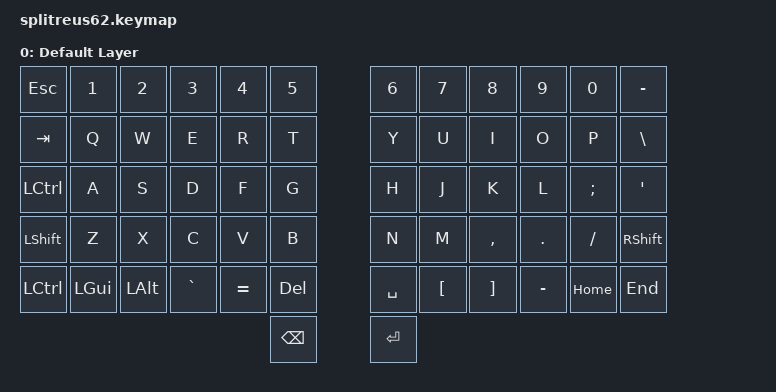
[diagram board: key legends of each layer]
/*
 * Copyright (c) 2020 The ZMK Contributors
 *
 * SPDX-License-Identifier: MIT
 */


#include <behaviors.dtsi>
#include <dt-bindings/zmk/keys.h>

/ {
    keymap {
        compatible = "zmk,keymap";

        default_layer {
            display-name = "Default Layer";
// ------------------------------------------------------------------------------------------------------------
// |  ESC  |  1  |  2  |  3   |  4   |  5   |                   |  6   |  7    |  8    |  9   |   0   |   -   |
// |  TAB  |  Q  |  W  |  E   |  R   |  T   |                   |  Y   |  U    |  I    |  O   |   P   |   \   |
// |  CTRL |  A  |  S  |  D   |  F   |  G   |                   |  H   |  J    |  K    |  L   |   ;   |   '   |
// | SHIFT |  Z  |  X  |  C   |  V   |  B   |                   |  N   |  M    |  ,    |  .   |   /   | SHIFT |
// | LCTL  | LGUI  | LALT |  GRAV |  | EQL | DEL | BSPC|  | RET | SPC  | LBKT |  RBKT  | LBKT | HOME  |   END |
            bindings = <
&kp ESC   &kp N1    &kp N2   &kp N3    &kp N4    &kp N5                    &kp N6    &kp N7   &kp N8    &kp N9    &kp N0   &kp MINUS
&kp TAB   &kp Q     &kp W    &kp E     &kp R     &kp T                     &kp Y     &kp U    &kp I     &kp O     &kp P    &kp BSLH
&kp LCTRL &kp A     &kp S    &kp D     &kp F     &kp G                     &kp H     &kp J    &kp K     &kp L     &kp SEMI &kp SQT
&kp LSHFT &kp Z     &kp X    &kp C     &kp V     &kp B                     &kp N     &kp M    &kp COMMA &kp DOT   &kp FSLH &kp RSHFT
&kp LCTRL &kp LGUI  &kp LALT &kp GRAVE &kp EQUAL &kp DEL                   &kp SPACE &kp LBKT &kp RBKT  &kp MINUS &kp HOME &kp END
                                                 &kp BSPC                  &kp RET
            >;
        };
    };
};
